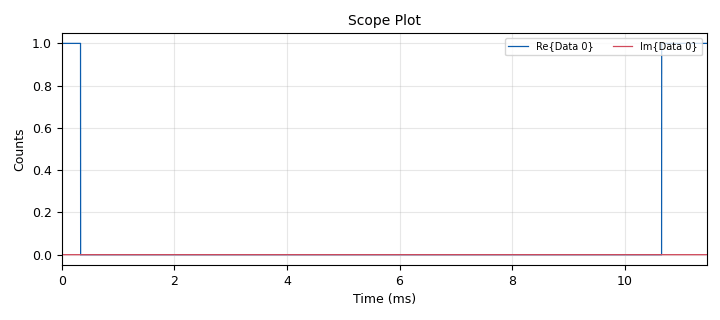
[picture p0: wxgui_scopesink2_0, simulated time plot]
<?xml version='1.0' encoding='utf-8'?>
<?grc format='1' created='3.7.12'?>
<flow_graph>
<block>
<key>options</key>
<param><key>id</key><value>ph_open_close_door</value></param>
<param><key>generate_options</key><value>wx_gui</value></param>
</block>
<block>
<key>variable</key>
<param><key>id</key><value>close_door_signal_val</value></param>
<param><key>value</key><value>(1,0,0,0,0,0,0,0,0,0,0,0,0,0,0,0,0,0,0,0,0,0,0,0,0,0,0,0,0,0,0,0,1,1,1,0,1,0,0,0,1,0,0,0,1,0,0,0,1,1,1,0,1,0,0,0,1,0,0,0,1,0,0,0,1,0,0,0,1,1,1,0,1,0,0,0,1,1,1,0,1,0,0,0,1,1,1,0,1,1,1,0,1,1,1,0,1,1,1,0,1,1,1,0,1,1,1,0,1,1,1,0,1,0,0,0,1,1,1,0,1,0,0,0,1,0,0,0)</value></param>
</block>
<block>
<key>variable</key>
<param><key>id</key><value>open_door_signal_val</value></param>
<param><key>value</key><value>(1,0,0,0,0,0,0,0,0,0,0,0,0,0,0,0,0,0,0,0,0,0,0,0,0,0,0,0,0,0,0,0,1,1,1,0,1,0,0,0,1,0,0,0,1,0,0,0,1,1,1,0,1,0,0,0,1,0,0,0,1,0,0,0,1,0,0,0,1,1,1,0,1,0,0,0,1,1,1,0,1,0,0,0,1,1,1,0,1,1,1,0,1,1,1,0,1,1,1,0,1,1,1,0,1,1,1,0,1,1,1,0,1,0,0,0,1,0,0,0,1,0,0,0,1,1,1,0)</value></param>
</block>
<block>
<key>variable</key>
<param><key>id</key><value>samp_rate</value></param>
<param><key>value</key><value>2e6</value></param>
</block>
<block>
<key>blocks_repeat</key>
<param><key>id</key><value>blocks_repeat_0</value></param>
<param><key>interp</key><value>666</value></param>
<param><key>type</key><value>complex</value></param>
</block>
<block>
<key>blocks_vector_source_x</key>
<param><key>id</key><value>blocks_vector_source_x_0</value></param>
<param><key>type</key><value>complex</value></param>
<param><key>repeat</key><value>True</value></param>
<param><key>vector</key><value>close_door_signal_val</value></param>
</block>
<block>
<key>osmosdr_sink</key>
<param><key>id</key><value>osmosdr_sink_0</value></param>
<param><key>bb_gain0</key><value>20</value></param>
<param><key>bw0</key><value>20e6</value></param>
<param><key>corr0</key><value>1.8</value></param>
<param><key>freq0</key><value>315e6</value></param>
<param><key>if_gain0</key><value>40</value></param>
<param><key>gain0</key><value>10</value></param>
<param><key>args</key><value></value></param>
<param><key>type</key><value>fc32</value></param>
<param><key>sample_rate</key><value>samp_rate</value></param>
<param><key>sync</key><value></value></param>
</block>
<block>
<key>wxgui_scopesink2</key>
<param><key>id</key><value>wxgui_scopesink2_0</value></param>
<param><key>ac_couple</key><value>False</value></param>
<param><key>num_inputs</key><value>1</value></param>
<param><key>samp_rate</key><value>samp_rate</value></param>
<param><key>t_scale</key><value>0</value></param>
<param><key>title</key><value>Scope Plot</value></param>
<param><key>trig_mode</key><value>wxgui.TRIG_MODE_AUTO</value></param>
<param><key>type</key><value>complex</value></param>
<param><key>v_offset</key><value>0</value></param>
<param><key>v_scale</key><value>0</value></param>
<param><key>xy_mode</key><value>False</value></param>
<param><key>y_axis_label</key><value>Counts</value></param>
</block>
<connection><source_block_id>blocks_repeat_0</source_block_id><sink_block_id>osmosdr_sink_0</sink_block_id><source_key>0</source_key><sink_key>0</sink_key></connection>
<connection><source_block_id>blocks_repeat_0</source_block_id><sink_block_id>wxgui_scopesink2_0</sink_block_id><source_key>0</source_key><sink_key>0</sink_key></connection>
<connection><source_block_id>blocks_vector_source_x_0</source_block_id><sink_block_id>blocks_repeat_0</sink_block_id><source_key>0</source_key><sink_key>0</sink_key></connection>
</flow_graph>
